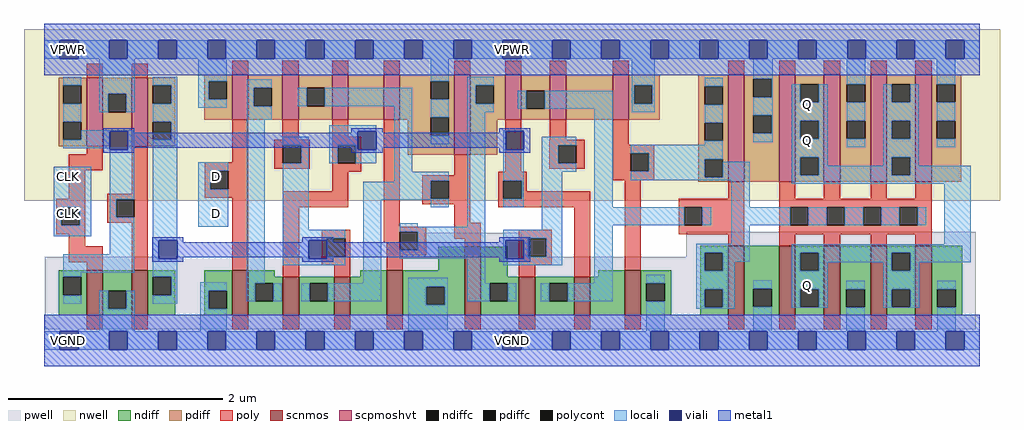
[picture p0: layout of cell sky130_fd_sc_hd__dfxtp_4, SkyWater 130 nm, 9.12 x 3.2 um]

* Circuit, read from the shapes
.subckt sky130_fd_sc_hd__dfxtp_4 CLK D VGND VNB VPB VPWR Q
XM1 VGND CLK n1 VNB sky130_fd_pr__nfet_01v8 w=0.42 l=0.15
XM2 n2 n1 VGND VNB sky130_fd_pr__nfet_01v8 w=0.42 l=0.15
XM3 n3 D VGND VNB sky130_fd_pr__nfet_01v8 w=0.42 l=0.15
XM4 n4 n1 n3 VNB sky130_fd_pr__nfet_01v8 w=0.36 l=0.15
XM5 n5 n2 n4 VNB sky130_fd_pr__nfet_01v8 w=0.36 l=0.15
XM6 VGND n6 n5 VNB sky130_fd_pr__nfet_01v8 w=0.42 l=0.15
XM7 n6 n4 VGND VNB sky130_fd_pr__nfet_01v8 w=0.64 l=0.15
XM8 n7 n2 n6 VNB sky130_fd_pr__nfet_01v8 w=0.36 l=0.15
XM9 n8 n1 n7 VNB sky130_fd_pr__nfet_01v8 w=0.36 l=0.15
XM10 VGND n9 n8 VNB sky130_fd_pr__nfet_01v8 w=0.42 l=0.15
XM11 VGND n7 n9 VNB sky130_fd_pr__nfet_01v8 w=0.65 l=0.15
XM12 Q n9 VGND VNB sky130_fd_pr__nfet_01v8 w=0.65 l=0.15 m=4
XM13 VPWR CLK n1 VPB sky130_fd_pr__pfet_01v8_hvt w=0.64 l=0.15
XM14 n2 n1 VPWR VPB sky130_fd_pr__pfet_01v8_hvt w=0.64 l=0.15
XM15 n3 D VPWR VPB sky130_fd_pr__pfet_01v8_hvt w=0.42 l=0.15
XM16 n4 n2 n3 VPB sky130_fd_pr__pfet_01v8_hvt w=0.42 l=0.15
XM17 n10 n1 n4 VPB sky130_fd_pr__pfet_01v8_hvt w=0.42 l=0.15
XM18 VPWR n6 n10 VPB sky130_fd_pr__pfet_01v8_hvt w=0.42 l=0.15
XM19 n6 n4 VPWR VPB sky130_fd_pr__pfet_01v8_hvt w=0.75 l=0.15
XM20 n7 n1 n6 VPB sky130_fd_pr__pfet_01v8_hvt w=0.42 l=0.15
XM21 n11 n2 n7 VPB sky130_fd_pr__pfet_01v8_hvt w=0.42 l=0.15
XM22 VPWR n9 n11 VPB sky130_fd_pr__pfet_01v8_hvt w=0.42 l=0.15
XM23 VPWR n7 n9 VPB sky130_fd_pr__pfet_01v8_hvt w=1 l=0.15
XM24 Q n9 VPWR VPB sky130_fd_pr__pfet_01v8_hvt w=1 l=0.15 m=4
.ends

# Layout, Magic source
magic
tech sky130B
magscale 1 2
<< nwell >>
rect -38 261 1786 582
<< pwell >>
rect 710 157 892 201
rect 1200 157 1741 203
rect 1 21 1741 157
rect 29 -17 63 21
<< scnmos >>
rect 79 47 109 131
rect 163 47 193 131
rect 351 47 381 131
rect 446 47 476 119
rect 542 47 572 119
rect 640 47 670 131
rect 786 47 816 175
rect 887 47 917 119
rect 990 47 1020 119
rect 1085 47 1115 131
rect 1278 47 1308 177
rect 1373 47 1403 177
rect 1457 47 1487 177
rect 1544 47 1574 177
rect 1628 47 1658 177
<< scpmoshvt >>
rect 79 363 109 491
rect 163 363 193 491
rect 351 413 381 497
rect 445 413 475 497
rect 538 413 568 497
rect 634 413 664 497
rect 766 347 796 497
rect 861 413 891 497
rect 945 413 975 497
rect 1062 413 1092 497
rect 1278 297 1308 497
rect 1373 297 1403 497
rect 1457 297 1487 497
rect 1544 297 1574 497
rect 1628 297 1658 497
<< ndiff >>
rect 27 119 79 131
rect 27 85 35 119
rect 69 85 79 119
rect 27 47 79 85
rect 109 93 163 131
rect 109 59 119 93
rect 153 59 163 93
rect 109 47 163 59
rect 193 119 245 131
rect 193 85 203 119
rect 237 85 245 119
rect 193 47 245 85
rect 299 93 351 131
rect 299 59 307 93
rect 341 59 351 93
rect 299 47 351 59
rect 381 119 431 131
rect 736 131 786 175
rect 590 119 640 131
rect 381 107 446 119
rect 381 73 394 107
rect 428 73 446 107
rect 381 47 446 73
rect 476 107 542 119
rect 476 73 496 107
rect 530 73 542 107
rect 476 47 542 73
rect 572 47 640 119
rect 670 101 786 131
rect 670 67 714 101
rect 748 67 786 101
rect 670 47 786 67
rect 816 119 866 175
rect 1226 164 1278 177
rect 1035 119 1085 131
rect 816 107 887 119
rect 816 73 832 107
rect 866 73 887 107
rect 816 47 887 73
rect 917 107 990 119
rect 917 73 944 107
rect 978 73 990 107
rect 917 47 990 73
rect 1020 47 1085 119
rect 1115 107 1172 131
rect 1115 73 1125 107
rect 1159 73 1172 107
rect 1115 47 1172 73
rect 1226 130 1234 164
rect 1268 130 1278 164
rect 1226 96 1278 130
rect 1226 62 1234 96
rect 1268 62 1278 96
rect 1226 47 1278 62
rect 1308 97 1373 177
rect 1308 63 1325 97
rect 1359 63 1373 97
rect 1308 47 1373 63
rect 1403 164 1457 177
rect 1403 130 1413 164
rect 1447 130 1457 164
rect 1403 96 1457 130
rect 1403 62 1413 96
rect 1447 62 1457 96
rect 1403 47 1457 62
rect 1487 96 1544 177
rect 1487 62 1499 96
rect 1533 62 1544 96
rect 1487 47 1544 62
rect 1574 164 1628 177
rect 1574 130 1584 164
rect 1618 130 1628 164
rect 1574 96 1628 130
rect 1574 62 1584 96
rect 1618 62 1628 96
rect 1574 47 1628 62
rect 1658 96 1715 177
rect 1658 62 1669 96
rect 1703 62 1715 96
rect 1658 47 1715 62
<< pdiff >>
rect 27 477 79 491
rect 27 443 35 477
rect 69 443 79 477
rect 27 409 79 443
rect 27 375 35 409
rect 69 375 79 409
rect 27 363 79 375
rect 109 461 163 491
rect 109 427 119 461
rect 153 427 163 461
rect 109 363 163 427
rect 193 477 245 491
rect 193 443 203 477
rect 237 443 245 477
rect 193 409 245 443
rect 299 485 351 497
rect 299 451 307 485
rect 341 451 351 485
rect 299 413 351 451
rect 381 472 445 497
rect 381 438 391 472
rect 425 438 445 472
rect 381 413 445 438
rect 475 472 538 497
rect 475 438 490 472
rect 524 438 538 472
rect 475 413 538 438
rect 568 413 634 497
rect 664 485 766 497
rect 664 451 722 485
rect 756 451 766 485
rect 664 417 766 451
rect 664 413 722 417
rect 193 375 203 409
rect 237 375 245 409
rect 193 363 245 375
rect 679 383 722 413
rect 756 383 766 417
rect 679 347 766 383
rect 796 477 861 497
rect 796 443 806 477
rect 840 443 861 477
rect 796 413 861 443
rect 891 467 945 497
rect 891 433 901 467
rect 935 433 945 467
rect 891 413 945 433
rect 975 413 1062 497
rect 1092 477 1150 497
rect 1092 443 1102 477
rect 1136 443 1150 477
rect 1092 413 1150 443
rect 1222 475 1278 497
rect 1222 441 1234 475
rect 1268 441 1278 475
rect 796 347 846 413
rect 1222 407 1278 441
rect 1222 373 1234 407
rect 1268 373 1278 407
rect 1222 339 1278 373
rect 1222 305 1234 339
rect 1268 305 1278 339
rect 1222 297 1278 305
rect 1308 489 1373 497
rect 1308 455 1325 489
rect 1359 455 1373 489
rect 1308 421 1373 455
rect 1308 387 1325 421
rect 1359 387 1373 421
rect 1308 297 1373 387
rect 1403 479 1457 497
rect 1403 445 1413 479
rect 1447 445 1457 479
rect 1403 411 1457 445
rect 1403 377 1413 411
rect 1447 377 1457 411
rect 1403 343 1457 377
rect 1403 309 1413 343
rect 1447 309 1457 343
rect 1403 297 1457 309
rect 1487 479 1544 497
rect 1487 445 1500 479
rect 1534 445 1544 479
rect 1487 411 1544 445
rect 1487 377 1500 411
rect 1534 377 1544 411
rect 1487 297 1544 377
rect 1574 479 1628 497
rect 1574 445 1584 479
rect 1618 445 1628 479
rect 1574 411 1628 445
rect 1574 377 1584 411
rect 1618 377 1628 411
rect 1574 343 1628 377
rect 1574 309 1584 343
rect 1618 309 1628 343
rect 1574 297 1628 309
rect 1658 479 1714 497
rect 1658 445 1668 479
rect 1702 445 1714 479
rect 1658 411 1714 445
rect 1658 377 1668 411
rect 1702 377 1714 411
rect 1658 297 1714 377
<< ndiffc >>
rect 35 85 69 119
rect 119 59 153 93
rect 203 85 237 119
rect 307 59 341 93
rect 394 73 428 107
rect 496 73 530 107
rect 714 67 748 101
rect 832 73 866 107
rect 944 73 978 107
rect 1125 73 1159 107
rect 1234 130 1268 164
rect 1234 62 1268 96
rect 1325 63 1359 97
rect 1413 130 1447 164
rect 1413 62 1447 96
rect 1499 62 1533 96
rect 1584 130 1618 164
rect 1584 62 1618 96
rect 1669 62 1703 96
<< pdiffc >>
rect 35 443 69 477
rect 35 375 69 409
rect 119 427 153 461
rect 203 443 237 477
rect 307 451 341 485
rect 391 438 425 472
rect 490 438 524 472
rect 722 451 756 485
rect 203 375 237 409
rect 722 383 756 417
rect 806 443 840 477
rect 901 433 935 467
rect 1102 443 1136 477
rect 1234 441 1268 475
rect 1234 373 1268 407
rect 1234 305 1268 339
rect 1325 455 1359 489
rect 1325 387 1359 421
rect 1413 445 1447 479
rect 1413 377 1447 411
rect 1413 309 1447 343
rect 1500 445 1534 479
rect 1500 377 1534 411
rect 1584 445 1618 479
rect 1584 377 1618 411
rect 1584 309 1618 343
rect 1668 445 1702 479
rect 1668 377 1702 411
<< poly >>
rect 79 491 109 517
rect 163 491 193 517
rect 351 497 381 523
rect 445 497 475 523
rect 538 497 568 523
rect 634 497 664 523
rect 766 497 796 523
rect 861 497 891 523
rect 945 497 975 523
rect 1062 497 1092 523
rect 1278 497 1308 523
rect 1373 497 1403 523
rect 1457 497 1487 523
rect 1544 497 1574 523
rect 1628 497 1658 523
rect 79 348 109 363
rect 46 318 109 348
rect 46 265 76 318
rect 163 274 193 363
rect 351 333 381 413
rect 445 375 475 413
rect 538 381 568 413
rect 22 249 76 265
rect 22 215 32 249
rect 66 215 76 249
rect 118 264 193 274
rect 300 317 381 333
rect 430 365 496 375
rect 430 331 446 365
rect 480 331 496 365
rect 430 321 496 331
rect 538 365 592 381
rect 538 331 548 365
rect 582 331 592 365
rect 300 283 310 317
rect 344 283 381 317
rect 300 267 381 283
rect 538 315 592 331
rect 538 279 568 315
rect 118 230 134 264
rect 168 230 193 264
rect 118 220 193 230
rect 22 199 76 215
rect 46 176 76 199
rect 46 146 109 176
rect 79 131 109 146
rect 163 131 193 220
rect 351 131 381 267
rect 446 249 568 279
rect 446 119 476 249
rect 634 213 664 413
rect 766 309 796 347
rect 861 315 891 413
rect 945 375 975 413
rect 944 365 1010 375
rect 944 331 960 365
rect 994 331 1010 365
rect 944 321 1010 331
rect 1062 366 1092 413
rect 1062 350 1140 366
rect 1062 316 1096 350
rect 1130 316 1140 350
rect 706 299 796 309
rect 706 265 722 299
rect 756 265 796 299
rect 706 255 796 265
rect 766 220 796 255
rect 848 299 902 315
rect 1062 300 1140 316
rect 848 265 858 299
rect 892 279 902 299
rect 892 265 1020 279
rect 848 249 1020 265
rect 518 191 572 207
rect 518 157 528 191
rect 562 157 572 191
rect 634 203 714 213
rect 634 183 664 203
rect 518 141 572 157
rect 542 119 572 141
rect 640 169 664 183
rect 698 169 714 203
rect 766 190 816 220
rect 786 175 816 190
rect 887 191 948 207
rect 640 159 714 169
rect 640 131 670 159
rect 887 157 904 191
rect 938 157 948 191
rect 887 141 948 157
rect 887 119 917 141
rect 990 119 1020 249
rect 1085 131 1115 300
rect 1278 265 1308 297
rect 1186 249 1308 265
rect 1186 215 1196 249
rect 1230 215 1308 249
rect 1186 199 1308 215
rect 1278 177 1308 199
rect 1373 265 1403 297
rect 1457 265 1487 297
rect 1544 265 1574 297
rect 1628 265 1658 297
rect 1373 249 1658 265
rect 1373 215 1394 249
rect 1428 215 1462 249
rect 1496 215 1530 249
rect 1564 215 1598 249
rect 1632 215 1658 249
rect 1373 199 1658 215
rect 1373 177 1403 199
rect 1457 177 1487 199
rect 1544 177 1574 199
rect 1628 177 1658 199
rect 79 21 109 47
rect 163 21 193 47
rect 351 21 381 47
rect 446 21 476 47
rect 542 21 572 47
rect 640 21 670 47
rect 786 21 816 47
rect 887 21 917 47
rect 990 21 1020 47
rect 1085 21 1115 47
rect 1278 21 1308 47
rect 1373 21 1403 47
rect 1457 21 1487 47
rect 1544 21 1574 47
rect 1628 21 1658 47
<< polycont >>
rect 32 215 66 249
rect 446 331 480 365
rect 548 331 582 365
rect 310 283 344 317
rect 134 230 168 264
rect 960 331 994 365
rect 1096 316 1130 350
rect 722 265 756 299
rect 858 265 892 299
rect 528 157 562 191
rect 664 169 698 203
rect 904 157 938 191
rect 1196 215 1230 249
rect 1394 215 1428 249
rect 1462 215 1496 249
rect 1530 215 1564 249
rect 1598 215 1632 249
<< locali >>
rect 0 527 29 561
rect 63 527 121 561
rect 155 527 213 561
rect 247 527 305 561
rect 339 527 397 561
rect 431 527 489 561
rect 523 527 581 561
rect 615 527 673 561
rect 707 527 765 561
rect 799 527 857 561
rect 891 527 949 561
rect 983 527 1041 561
rect 1075 527 1133 561
rect 1167 527 1225 561
rect 1259 527 1317 561
rect 1351 527 1409 561
rect 1443 527 1501 561
rect 1535 527 1593 561
rect 1627 527 1685 561
rect 1719 527 1748 561
rect 35 477 69 493
rect 35 409 69 443
rect 103 461 169 527
rect 103 427 119 461
rect 153 427 169 461
rect 203 477 248 493
rect 237 443 248 477
rect 203 409 248 443
rect 288 485 341 527
rect 288 451 307 485
rect 288 435 341 451
rect 378 472 425 488
rect 722 485 756 527
rect 378 438 391 472
rect 474 438 490 472
rect 524 438 688 472
rect 69 391 168 393
rect 69 375 122 391
rect 35 359 122 375
rect 156 357 168 391
rect 18 249 88 325
rect 18 215 32 249
rect 66 215 88 249
rect 18 195 88 215
rect 122 264 168 357
rect 122 230 134 264
rect 122 161 168 230
rect 35 127 168 161
rect 237 375 248 409
rect 203 187 248 375
rect 378 413 425 438
rect 288 317 344 333
rect 288 283 310 317
rect 288 213 344 283
rect 203 153 214 187
rect 35 119 69 127
rect 203 119 248 153
rect 35 69 69 85
rect 103 59 119 93
rect 153 59 169 93
rect 237 85 248 119
rect 203 69 248 85
rect 291 93 341 109
rect 103 17 169 59
rect 291 59 307 93
rect 378 107 412 413
rect 532 391 620 402
rect 446 365 494 381
rect 480 331 494 365
rect 532 365 586 391
rect 532 331 548 365
rect 582 357 586 365
rect 582 331 620 357
rect 446 207 494 331
rect 654 315 688 438
rect 722 417 756 451
rect 722 367 756 383
rect 790 477 840 493
rect 790 443 806 477
rect 1098 477 1141 527
rect 790 427 840 443
rect 885 433 901 467
rect 935 433 1062 467
rect 654 299 756 315
rect 654 297 722 299
rect 596 265 722 297
rect 596 263 756 265
rect 446 191 562 207
rect 446 187 528 191
rect 446 153 494 187
rect 528 153 562 157
rect 446 141 562 153
rect 596 107 630 263
rect 722 249 756 263
rect 664 213 698 219
rect 790 213 824 427
rect 858 391 896 393
rect 858 357 862 391
rect 858 299 896 357
rect 892 265 896 299
rect 858 249 896 265
rect 930 365 994 381
rect 930 331 960 365
rect 930 315 994 331
rect 664 203 824 213
rect 930 207 968 315
rect 698 169 824 203
rect 664 153 824 169
rect 378 73 394 107
rect 428 73 444 107
rect 480 73 496 107
rect 530 73 630 107
rect 680 101 754 117
rect 291 17 341 59
rect 680 67 714 101
rect 748 67 754 101
rect 790 107 824 153
rect 858 191 968 207
rect 858 187 904 191
rect 858 153 862 187
rect 896 157 904 187
rect 938 157 968 191
rect 896 153 968 157
rect 858 141 968 153
rect 1028 249 1062 433
rect 1098 443 1102 477
rect 1136 443 1141 477
rect 1098 427 1141 443
rect 1234 475 1268 491
rect 1234 407 1268 441
rect 1234 366 1268 373
rect 1325 489 1361 527
rect 1359 455 1361 489
rect 1500 479 1534 527
rect 1668 479 1702 527
rect 1325 421 1361 455
rect 1359 387 1361 421
rect 1325 371 1361 387
rect 1397 445 1413 479
rect 1447 445 1464 479
rect 1397 411 1464 445
rect 1397 377 1413 411
rect 1447 377 1464 411
rect 1096 350 1268 366
rect 1130 339 1268 350
rect 1130 316 1234 339
rect 1096 305 1234 316
rect 1397 343 1464 377
rect 1500 411 1534 445
rect 1500 361 1534 377
rect 1568 445 1584 479
rect 1618 445 1634 479
rect 1568 411 1634 445
rect 1568 377 1584 411
rect 1618 377 1634 411
rect 1268 305 1318 334
rect 1096 300 1318 305
rect 1284 249 1318 300
rect 1397 309 1413 343
rect 1447 327 1464 343
rect 1568 343 1634 377
rect 1668 411 1702 445
rect 1668 361 1702 377
rect 1568 327 1584 343
rect 1447 309 1584 327
rect 1618 327 1634 343
rect 1618 309 1731 327
rect 1397 293 1731 309
rect 1028 215 1196 249
rect 1230 215 1246 249
rect 1284 215 1394 249
rect 1428 215 1462 249
rect 1496 215 1530 249
rect 1564 215 1598 249
rect 1632 215 1648 249
rect 1028 107 1062 215
rect 1284 181 1318 215
rect 1218 164 1318 181
rect 1682 180 1731 293
rect 1218 130 1234 164
rect 1268 147 1318 164
rect 1397 164 1731 180
rect 1268 130 1290 147
rect 790 73 832 107
rect 866 73 882 107
rect 928 73 944 107
rect 978 73 1062 107
rect 1125 107 1159 123
rect 680 17 754 67
rect 1125 17 1159 73
rect 1218 96 1290 130
rect 1397 130 1413 164
rect 1447 146 1584 164
rect 1447 130 1464 146
rect 1218 62 1234 96
rect 1268 62 1290 96
rect 1218 59 1290 62
rect 1325 97 1359 113
rect 1325 17 1359 63
rect 1397 96 1464 130
rect 1568 130 1584 146
rect 1618 146 1731 164
rect 1618 130 1635 146
rect 1397 62 1413 96
rect 1447 62 1464 96
rect 1397 61 1464 62
rect 1499 96 1533 112
rect 1499 17 1533 62
rect 1568 96 1635 130
rect 1568 62 1584 96
rect 1618 62 1635 96
rect 1568 61 1635 62
rect 1669 96 1703 112
rect 1669 17 1703 62
rect 0 -17 29 17
rect 63 -17 121 17
rect 155 -17 213 17
rect 247 -17 305 17
rect 339 -17 397 17
rect 431 -17 489 17
rect 523 -17 581 17
rect 615 -17 673 17
rect 707 -17 765 17
rect 799 -17 857 17
rect 891 -17 949 17
rect 983 -17 1041 17
rect 1075 -17 1133 17
rect 1167 -17 1225 17
rect 1259 -17 1317 17
rect 1351 -17 1409 17
rect 1443 -17 1501 17
rect 1535 -17 1593 17
rect 1627 -17 1685 17
rect 1719 -17 1748 17
<< viali >>
rect 29 527 63 561
rect 121 527 155 561
rect 213 527 247 561
rect 305 527 339 561
rect 397 527 431 561
rect 489 527 523 561
rect 581 527 615 561
rect 673 527 707 561
rect 765 527 799 561
rect 857 527 891 561
rect 949 527 983 561
rect 1041 527 1075 561
rect 1133 527 1167 561
rect 1225 527 1259 561
rect 1317 527 1351 561
rect 1409 527 1443 561
rect 1501 527 1535 561
rect 1593 527 1627 561
rect 1685 527 1719 561
rect 122 357 156 391
rect 214 153 248 187
rect 586 357 620 391
rect 494 153 528 187
rect 862 357 896 391
rect 862 153 896 187
rect 29 -17 63 17
rect 121 -17 155 17
rect 213 -17 247 17
rect 305 -17 339 17
rect 397 -17 431 17
rect 489 -17 523 17
rect 581 -17 615 17
rect 673 -17 707 17
rect 765 -17 799 17
rect 857 -17 891 17
rect 949 -17 983 17
rect 1041 -17 1075 17
rect 1133 -17 1167 17
rect 1225 -17 1259 17
rect 1317 -17 1351 17
rect 1409 -17 1443 17
rect 1501 -17 1535 17
rect 1593 -17 1627 17
rect 1685 -17 1719 17
<< metal1 >>
rect 0 561 1748 592
rect 0 527 29 561
rect 63 527 121 561
rect 155 527 213 561
rect 247 527 305 561
rect 339 527 397 561
rect 431 527 489 561
rect 523 527 581 561
rect 615 527 673 561
rect 707 527 765 561
rect 799 527 857 561
rect 891 527 949 561
rect 983 527 1041 561
rect 1075 527 1133 561
rect 1167 527 1225 561
rect 1259 527 1317 561
rect 1351 527 1409 561
rect 1443 527 1501 561
rect 1535 527 1593 561
rect 1627 527 1685 561
rect 1719 527 1748 561
rect 0 496 1748 527
rect 110 391 168 397
rect 110 357 122 391
rect 156 388 168 391
rect 574 391 632 397
rect 574 388 586 391
rect 156 360 586 388
rect 156 357 168 360
rect 110 351 168 357
rect 574 357 586 360
rect 620 388 632 391
rect 850 391 908 397
rect 850 388 862 391
rect 620 360 862 388
rect 620 357 632 360
rect 574 351 632 357
rect 850 357 862 360
rect 896 357 908 391
rect 850 351 908 357
rect 202 187 260 193
rect 202 153 214 187
rect 248 184 260 187
rect 482 187 540 193
rect 482 184 494 187
rect 248 156 494 184
rect 248 153 260 156
rect 202 147 260 153
rect 482 153 494 156
rect 528 184 540 187
rect 850 187 908 193
rect 850 184 862 187
rect 528 156 862 184
rect 528 153 540 156
rect 482 147 540 153
rect 850 153 862 156
rect 896 153 908 187
rect 850 147 908 153
rect 0 17 1748 48
rect 0 -17 29 17
rect 63 -17 121 17
rect 155 -17 213 17
rect 247 -17 305 17
rect 339 -17 397 17
rect 431 -17 489 17
rect 523 -17 581 17
rect 615 -17 673 17
rect 707 -17 765 17
rect 799 -17 857 17
rect 891 -17 949 17
rect 983 -17 1041 17
rect 1075 -17 1133 17
rect 1167 -17 1225 17
rect 1259 -17 1317 17
rect 1351 -17 1409 17
rect 1443 -17 1501 17
rect 1535 -17 1593 17
rect 1627 -17 1685 17
rect 1719 -17 1748 17
rect 0 -48 1748 -17
<< labels >>
flabel metal1 s 29 -17 63 17 0 FreeSans 200 0 0 0 VGND
port 3 nsew ground bidirectional abutment
flabel metal1 s 29 527 63 561 0 FreeSans 200 0 0 0 VPWR
port 6 nsew power bidirectional abutment
flabel locali s 305 221 339 255 0 FreeSans 200 0 0 0 D
port 2 nsew signal input
flabel locali s 29 289 63 323 0 FreeSans 400 0 0 0 CLK
port 1 nsew clock input
flabel locali s 29 221 63 255 0 FreeSans 400 0 0 0 CLK
port 1 nsew clock input
flabel locali s 1409 85 1443 119 0 FreeSans 200 0 0 0 Q
port 7 nsew signal output
flabel locali s 1409 357 1443 391 0 FreeSans 200 0 0 0 Q
port 7 nsew signal output
flabel locali s 1409 425 1443 459 0 FreeSans 200 0 0 0 Q
port 7 nsew signal output
flabel locali s 305 289 339 323 0 FreeSans 200 0 0 0 D
port 2 nsew signal input
flabel pwell s 29 -17 63 17 0 FreeSans 200 0 0 0 VNB
port 4 nsew ground bidirectional
flabel pwell s 46 0 46 0 0 FreeSans 200 0 0 0 VNB
flabel nwell s 29 527 63 561 0 FreeSans 200 0 0 0 VPB
port 5 nsew power bidirectional
flabel nwell s 46 544 46 544 0 FreeSans 200 0 0 0 VPB
rlabel comment s 0 0 0 0 4 dfxtp_4
rlabel metal1 s 0 -48 1748 48 1 VGND
port 3 nsew ground bidirectional abutment
rlabel metal1 s 0 496 1748 592 1 VPWR
port 6 nsew power bidirectional abutment
<< properties >>
string FIXED_BBOX 0 0 1748 544
string GDS_END 2632742
string GDS_FILE $PDKPATH/libs.ref/sky130_fd_sc_hd/gds/sky130_fd_sc_hd.gds
string GDS_START 2618642
string LEFclass CORE
string LEFsite unithd
string LEFsymmetry X Y R90
string path 0.000 0.000 43.700 0.000 
<< end >>
